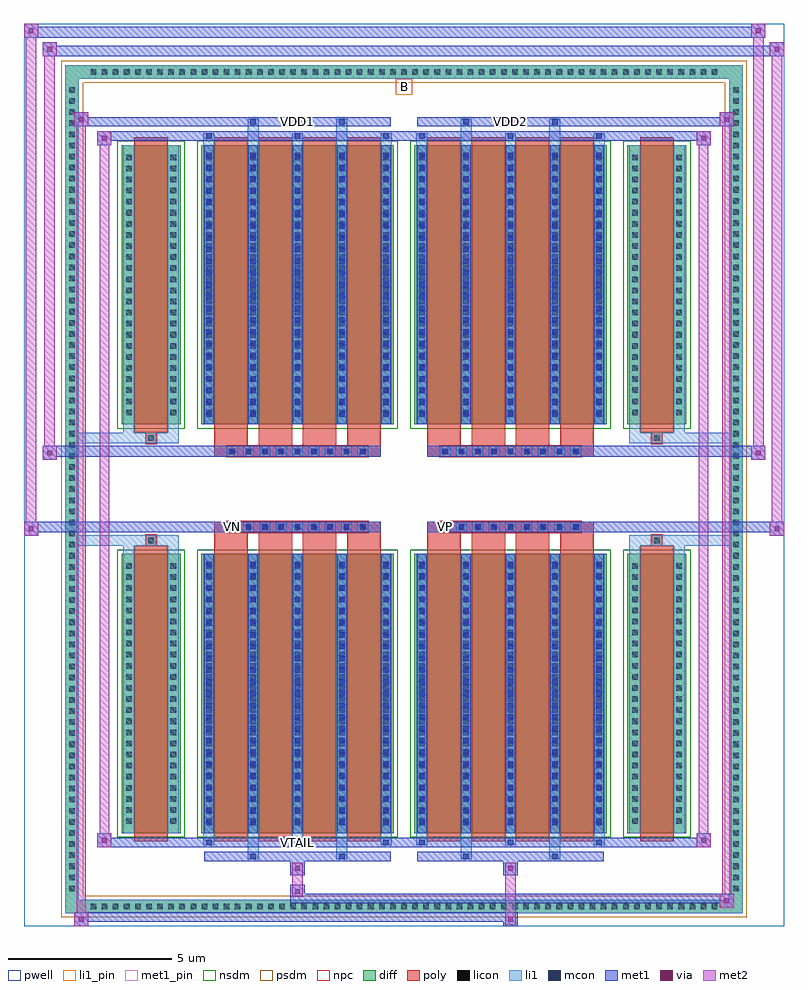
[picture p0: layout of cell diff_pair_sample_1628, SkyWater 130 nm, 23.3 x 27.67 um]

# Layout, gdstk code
import gdstk
lib = gdstk.Library(unit=1e-6, precision=5e-09)
def R(c, l, rs):  # rectangles x0, y0, x1, y1
    for r in rs: c.add(gdstk.rectangle(r[:2], r[2:], *l))
def A(c, l, x, y, w, h, nx, ny, dx, dy):  # array of equal rectangles
    R(c, l, [(x+i*dx, y+j*dy, x+i*dx+w, y+j*dy+h) for i in range(nx) for j in range(ny)])
def P(c, l, *ps):  # polygons
    for p in ps: c.add(gdstk.Polygon(p, *l))
pwell = (64, 44)
diff = (65, 20)
poly = (66, 20)
licon = (66, 44)
li1_pin = (67, 16)
li1 = (67, 20)
mcon = (67, 44)
met1_pin = (68, 16)
met1 = (68, 20)
via = (68, 44)
met2 = (69, 20)
nsdm = (93, 44)
psdm = (94, 20)
npc = (95, 20)

diff_pair_sample_1628 = lib.new_cell('diff_pair_sample_1628')
R(diff_pair_sample_1628, pwell, [(-11.65,-13.4,11.65,14.27), (-8.97,-11.59,-0.01,-0.795), (0.01,-11.59,8.97,-0.795), (-8.97,0.795,-0.01,11.59), (0.01,0.795,8.97,11.59)])
A(diff_pair_sample_1628, diff, -9.725, -13, 0.41, 0.41, 57, 2, 0.34, 25.59)
A(diff_pair_sample_1628, diff, -10.38, -12.445, 0.41, 0.41, 1, 73, 0, 0.34)
A(diff_pair_sample_1628, diff, 9.97, -12.445, 0.41, 0.41, 1, 73, 0, 0.34)
R(diff_pair_sample_1628, diff, [(-9.725,-13,9.725,-12.59), (-10.38,-12.445,-9.97,12.445), (9.97,-12.445,10.38,12.445), (-8.66,-10.545,-6.85,-1.985), (-6.21,-10.545,-0.32,-1.985), (0.32,-10.545,6.21,-1.985), (6.85,-10.545,8.66,-1.985), (-8.66,1.985,-6.85,10.545), (-6.21,1.985,-0.32,10.545), (0.32,1.985,6.21,10.545), (6.85,1.985,8.66,10.545), (-9.725,12.59,9.725,13)])
P(diff_pair_sample_1628, diff, [(10.38,13),(-10.38,13),(-10.38,-12.59),(-9.97,-12.59),(-9.97,12.59),(9.97,12.59),(9.97,-12.59),(-9.97,-12.59),(-10.38,-12.59),(-10.38,-13),(10.38,-13)])
A(diff_pair_sample_1628, poly, -5.82, -10.795, 1.03, 9.06, 4, 2, 1.36, 12.53)
A(diff_pair_sample_1628, poly, 0.71, -10.795, 1.03, 9.06, 4, 2, 1.36, 12.53)
A(diff_pair_sample_1628, poly, -5.82, -1.735, 1.03, 0.41, 4, 2, 1.36, 3.06)
A(diff_pair_sample_1628, poly, 0.71, -1.735, 1.03, 0.41, 4, 2, 1.36, 3.06)
A(diff_pair_sample_1628, poly, -5.43, -1.325, 0.33, 0.33, 9, 2, 0.5, 2.32)
A(diff_pair_sample_1628, poly, 1.1, -1.325, 0.33, 0.33, 9, 2, 0.5, 2.32)
R(diff_pair_sample_1628, poly, [(-8.27,-10.795,-7.24,-1.735), (7.24,-10.795,8.27,-1.735), (-7.92,-1.735,-7.59,-1.405), (-7.92,-1.735,-7.59,-1.405), (7.59,-1.735,7.92,-1.405), (7.59,-1.735,7.92,-1.405), (-5.82,-1.325,-0.71,-0.995), (0.71,-1.325,5.82,-0.995), (-5.82,0.995,-0.71,1.325), (0.71,0.995,5.82,1.325), (-7.92,1.405,-7.59,1.735), (-7.92,1.405,-7.59,1.735), (7.59,1.405,7.92,1.735), (7.59,1.405,7.92,1.735), (-8.27,1.735,-7.24,10.795), (7.24,1.735,8.27,10.795)])
A(diff_pair_sample_1628, licon, -9.605, -12.88, 0.17, 0.17, 57, 2, 0.34, 25.59)
A(diff_pair_sample_1628, licon, -10.26, -12.325, 0.17, 0.17, 1, 73, 0, 0.34)
A(diff_pair_sample_1628, licon, 10.09, -12.325, 0.17, 0.17, 1, 73, 0, 0.34)
A(diff_pair_sample_1628, licon, -8.52, -10.26, 0.17, 0.17, 1, 24, 0, 0.34)
A(diff_pair_sample_1628, licon, -7.16, -10.26, 0.17, 0.17, 1, 24, 0, 0.34)
A(diff_pair_sample_1628, licon, -6.07, -10.26, 0.17, 0.17, 5, 24, 1.36, 0.34)
A(diff_pair_sample_1628, licon, 0.46, -10.26, 0.17, 0.17, 5, 24, 1.36, 0.34)
A(diff_pair_sample_1628, licon, 6.99, -10.26, 0.17, 0.17, 1, 24, 0, 0.34)
A(diff_pair_sample_1628, licon, 8.35, -10.26, 0.17, 0.17, 1, 24, 0, 0.34)
A(diff_pair_sample_1628, licon, -5.35, -1.245, 0.17, 0.17, 9, 2, 0.5, 2.32)
A(diff_pair_sample_1628, licon, 1.18, -1.245, 0.17, 0.17, 9, 2, 0.5, 2.32)
A(diff_pair_sample_1628, licon, -8.52, 2.27, 0.17, 0.17, 1, 24, 0, 0.34)
A(diff_pair_sample_1628, licon, -7.16, 2.27, 0.17, 0.17, 1, 24, 0, 0.34)
A(diff_pair_sample_1628, licon, -6.07, 2.27, 0.17, 0.17, 5, 24, 1.36, 0.34)
A(diff_pair_sample_1628, licon, 0.46, 2.27, 0.17, 0.17, 5, 24, 1.36, 0.34)
A(diff_pair_sample_1628, licon, 6.99, 2.27, 0.17, 0.17, 1, 24, 0, 0.34)
A(diff_pair_sample_1628, licon, 8.35, 2.27, 0.17, 0.17, 1, 24, 0, 0.34)
R(diff_pair_sample_1628, licon, [(-7.84,-1.655,-7.67,-1.485), (7.67,-1.655,7.84,-1.485), (-7.84,1.485,-7.67,1.655), (7.67,1.485,7.84,1.655)])
R(diff_pair_sample_1628, li1_pin, [(-0.25,12.09,0.25,12.59)])
A(diff_pair_sample_1628, li1, -9.685, -12.96, 0.33, 0.33, 57, 2, 0.34, 25.59)
A(diff_pair_sample_1628, li1, -10.34, -12.405, 0.33, 0.33, 1, 73, 0, 0.34)
A(diff_pair_sample_1628, li1, 10.01, -12.405, 0.33, 0.33, 1, 73, 0, 0.34)
A(diff_pair_sample_1628, li1, -6.15, -10.92, 0.33, 0.375, 3, 2, 2.72, 21.465)
A(diff_pair_sample_1628, li1, -6.07, -10.92, 0.17, 0.17, 3, 2, 2.72, 21.67)
A(diff_pair_sample_1628, li1, 0.38, -10.92, 0.33, 0.375, 3, 2, 2.72, 21.465)
A(diff_pair_sample_1628, li1, 0.46, -10.92, 0.17, 0.17, 3, 2, 2.72, 21.67)
A(diff_pair_sample_1628, li1, -6.15, -10.545, 0.33, 8.56, 5, 2, 1.36, 12.53)
A(diff_pair_sample_1628, li1, 0.38, -10.545, 0.33, 8.56, 5, 2, 1.36, 12.53)
A(diff_pair_sample_1628, li1, -8.6, -10.34, 0.33, 0.33, 1, 24, 0, 0.34)
A(diff_pair_sample_1628, li1, -7.24, -10.34, 0.33, 0.33, 1, 24, 0, 0.34)
A(diff_pair_sample_1628, li1, -6.15, -10.34, 0.33, 0.33, 5, 24, 1.36, 0.34)
A(diff_pair_sample_1628, li1, 0.38, -10.34, 0.33, 0.33, 5, 24, 1.36, 0.34)
A(diff_pair_sample_1628, li1, 6.91, -10.34, 0.33, 0.33, 1, 24, 0, 0.34)
A(diff_pair_sample_1628, li1, 8.27, -10.34, 0.33, 0.33, 1, 24, 0, 0.34)
A(diff_pair_sample_1628, li1, -6.07, -10.31, 0.17, 0.17, 5, 23, 1.36, 0.36)
A(diff_pair_sample_1628, li1, -6.07, -10.31, 0.17, 8.09, 5, 2, 1.36, 12.53)
A(diff_pair_sample_1628, li1, 0.46, -10.31, 0.17, 0.17, 5, 23, 1.36, 0.36)
A(diff_pair_sample_1628, li1, 0.46, -10.31, 0.17, 8.09, 5, 2, 1.36, 12.53)
A(diff_pair_sample_1628, li1, -5.43, -1.325, 0.33, 0.33, 9, 2, 0.5, 2.32)
A(diff_pair_sample_1628, li1, 1.1, -1.325, 0.33, 0.33, 9, 2, 0.5, 2.32)
A(diff_pair_sample_1628, li1, -8.6, 2.19, 0.33, 0.33, 1, 24, 0, 0.34)
A(diff_pair_sample_1628, li1, -7.24, 2.19, 0.33, 0.33, 1, 24, 0, 0.34)
A(diff_pair_sample_1628, li1, -6.15, 2.19, 0.33, 0.33, 5, 24, 1.36, 0.34)
A(diff_pair_sample_1628, li1, 0.38, 2.19, 0.33, 0.33, 5, 24, 1.36, 0.34)
A(diff_pair_sample_1628, li1, 6.91, 2.19, 0.33, 0.33, 1, 24, 0, 0.34)
A(diff_pair_sample_1628, li1, 8.27, 2.19, 0.33, 0.33, 1, 24, 0, 0.34)
A(diff_pair_sample_1628, li1, -6.07, 2.22, 0.17, 0.17, 5, 23, 1.36, 0.36)
A(diff_pair_sample_1628, li1, 0.46, 2.22, 0.17, 0.17, 5, 23, 1.36, 0.36)
R(diff_pair_sample_1628, li1, [(-10.38,-13,-9.97,-12.59), (-10.38,-13,-9.97,-12.59), (-9.97,-13,9.97,-12.59), (9.97,-13,10.38,-12.59), (9.97,-13,10.38,-12.59), (-10.38,-12.59,-9.97,12.59), (9.97,-12.59,10.38,12.59), (-4.79,-11.35,-4.46,-10.545), (-4.71,-11.35,-4.54,-11.18), (-2.07,-11.35,-1.74,-10.545), (-1.99,-11.35,-1.82,-11.18), (1.74,-11.35,2.07,-10.545), (1.82,-11.35,1.99,-11.18), (4.46,-11.35,4.79,-10.545), (4.54,-11.35,4.71,-11.18), (-8.6,-10.545,-8.27,-1.985), (-7.24,-10.545,-6.91,-1.985), (6.91,-10.545,7.24,-1.985), (8.27,-10.545,8.6,-1.985), (-8.6,-1.985,-8.27,-1.405), (-7.24,-1.985,-6.91,-1.405), (6.91,-1.985,7.24,-1.405), (8.27,-1.985,8.6,-1.405), (-10.38,-1.735,-7.92,-1.405), (-8.6,-1.735,-7.92,-1.405), (-7.92,-1.735,-7.59,-1.405), (-7.59,-1.735,-6.91,-1.405), (6.91,-1.735,7.59,-1.405), (7.59,-1.735,7.92,-1.405), (7.59,-1.735,10.38,-1.405), (7.92,-1.735,8.6,-1.405), (-10.38,1.405,-7.92,1.735), (-8.6,1.405,-7.92,1.735), (-8.6,1.405,-8.27,1.985), (-7.92,1.405,-7.59,1.735), (-7.59,1.405,-6.91,1.735), (-7.24,1.405,-6.91,1.985), (6.91,1.405,7.59,1.735), (6.91,1.405,7.24,1.985), (7.59,1.405,7.92,1.735), (7.59,1.405,10.38,1.735), (7.92,1.405,8.6,1.735), (8.27,1.405,8.6,1.985), (-8.6,1.985,-8.27,10.545), (-7.24,1.985,-6.91,10.545), (6.91,1.985,7.24,10.545), (8.27,1.985,8.6,10.545), (-4.79,10.545,-4.46,11.35), (-2.07,10.545,-1.74,11.35), (1.74,10.545,2.07,11.35), (4.46,10.545,4.79,11.35), (-4.71,11.18,-4.54,11.35), (-1.99,11.18,-1.82,11.35), (1.82,11.18,1.99,11.35), (4.54,11.18,4.71,11.35), (-10.38,12.59,-9.97,13), (-10.38,12.59,-9.97,13), (-9.97,12.59,9.97,13), (9.97,12.59,10.38,13), (9.97,12.59,10.38,13)])
A(diff_pair_sample_1628, mcon, -6.07, -10.92, 0.17, 0.17, 3, 2, 2.72, 21.67)
A(diff_pair_sample_1628, mcon, 0.46, -10.92, 0.17, 0.17, 3, 2, 2.72, 21.67)
A(diff_pair_sample_1628, mcon, -6.07, -10.31, 0.17, 0.17, 5, 23, 1.36, 0.36)
A(diff_pair_sample_1628, mcon, 0.46, -10.31, 0.17, 0.17, 5, 23, 1.36, 0.36)
A(diff_pair_sample_1628, mcon, -5.35, -1.245, 0.17, 0.17, 9, 2, 0.5, 2.32)
A(diff_pair_sample_1628, mcon, 1.18, -1.245, 0.17, 0.17, 9, 2, 0.5, 2.32)
A(diff_pair_sample_1628, mcon, -6.07, 2.22, 0.17, 0.17, 5, 23, 1.36, 0.36)
A(diff_pair_sample_1628, mcon, 0.46, 2.22, 0.17, 0.17, 5, 23, 1.36, 0.36)
R(diff_pair_sample_1628, mcon, [(-4.71,-11.35,-4.54,-11.18), (-1.99,-11.35,-1.82,-11.18), (1.82,-11.35,1.99,-11.18), (4.54,-11.35,4.71,-11.18), (-4.71,11.18,-4.54,11.35), (-1.99,11.18,-1.82,11.35), (1.82,11.18,1.99,11.35), (4.54,11.18,4.71,11.35)])
R(diff_pair_sample_1628, met1_pin, [(-3.4,-10.96,-3.13,-10.69), (-5.4,-1.285,-5.13,-1.015), (1.13,-1.285,1.4,-1.015), (-3.4,11.14,-3.13,11.41), (3.13,11.14,3.4,11.41)])
A(diff_pair_sample_1628, met1, -6.13, -10.98, 0.29, 0.29, 3, 2, 2.72, 21.67)
A(diff_pair_sample_1628, met1, 0.4, -10.98, 0.29, 0.29, 3, 2, 2.72, 21.67)
A(diff_pair_sample_1628, met1, -6.13, -10.545, 0.29, 8.56, 5, 2, 1.36, 12.53)
A(diff_pair_sample_1628, met1, 0.4, -10.545, 0.29, 8.56, 5, 2, 1.36, 12.53)
A(diff_pair_sample_1628, met1, -6.13, -10.37, 0.29, 0.29, 5, 23, 1.36, 0.36)
A(diff_pair_sample_1628, met1, 0.4, -10.37, 0.29, 0.29, 5, 23, 1.36, 0.36)
A(diff_pair_sample_1628, met1, -5.41, -1.305, 0.29, 0.29, 9, 2, 0.5, 2.32)
A(diff_pair_sample_1628, met1, 1.12, -1.305, 0.29, 0.29, 9, 2, 0.5, 2.32)
A(diff_pair_sample_1628, met1, -6.13, 2.16, 0.29, 0.29, 5, 23, 1.36, 0.36)
A(diff_pair_sample_1628, met1, 0.4, 2.16, 0.29, 0.29, 5, 23, 1.36, 0.36)
R(diff_pair_sample_1628, met1, [(-10.11,-13.4,-9.68,-12.97), (3.05,-13.4,3.48,-12.97), (-10.11,-13.26,3.48,-12.97), (9.68,-12.83,10.11,-12.4), (-3.48,-12.69,10.11,-12.4), (-3.48,-12.55,-3.05,-12.12), (-3.48,-11.84,-3.05,-11.41), (3.05,-11.84,3.48,-11.41), (-6.13,-11.41,-0.4,-11.12), (-4.77,-11.41,-4.48,-11.12), (-2.05,-11.41,-1.76,-11.12), (0.4,-11.41,6.13,-11.12), (1.76,-11.41,2.05,-11.12), (4.48,-11.41,4.77,-11.12), (-9.4,-10.98,-8.97,-10.55), (-9.4,-10.98,-6.13,-10.69), (-6.13,-10.98,-0.4,-10.69), (-0.4,-10.98,0.4,-10.69), (0.4,-10.98,6.13,-10.69), (6.13,-10.98,9.4,-10.69), (8.97,-10.98,9.4,-10.55), (-11.65,-1.425,-11.22,-0.995), (11.22,-1.425,11.65,-0.995), (-11.65,-1.325,-0.71,-0.995), (-5.82,-1.325,-0.71,-0.995), (0.71,-1.325,5.82,-0.995), (0.71,-1.325,11.65,-0.995), (-11.08,0.895,-10.65,1.325), (10.65,0.895,11.08,1.325), (-11.08,0.995,-5.82,1.325), (-5.82,0.995,-0.71,1.325), (0.71,0.995,5.82,1.325), (5.82,0.995,11.08,1.325), (-9.4,10.55,-8.97,10.98), (8.97,10.55,9.4,10.98), (-9.4,10.69,-6.13,10.98), (-6.13,10.69,-0.4,10.98), (-0.4,10.69,0.4,10.98), (0.4,10.69,6.13,10.98), (6.13,10.69,9.4,10.98), (-10.11,11.12,-9.68,11.55), (-10.11,11.12,-6.13,11.41), (-6.13,11.12,-0.4,11.41), (-4.77,11.12,-4.48,11.41), (-2.05,11.12,-1.76,11.41), (0.4,11.12,6.13,11.41), (1.76,11.12,2.05,11.41), (4.48,11.12,4.77,11.41), (6.13,11.12,10.11,11.41), (9.68,11.12,10.11,11.55), (-11.08,13.27,-10.65,13.7), (-11.08,13.27,-8.97,13.6), (-8.97,13.27,8.97,13.6), (8.97,13.27,11.65,13.6), (11.22,13.27,11.65,13.7), (-11.65,13.84,-11.22,14.27), (-11.65,13.84,-8.97,14.17), (-8.97,13.84,8.97,14.17), (8.97,13.84,11.08,14.17), (10.65,13.84,11.08,14.27)])
R(diff_pair_sample_1628, via, [(-9.97,-13.26,-9.82,-13.11), (3.19,-13.26,3.34,-13.11), (9.82,-12.69,9.97,-12.54), (-3.34,-12.41,-3.19,-12.26), (-3.34,-11.7,-3.19,-11.55), (3.19,-11.7,3.34,-11.55), (-9.26,-10.84,-9.11,-10.69), (9.11,-10.84,9.26,-10.69), (-11.51,-1.285,-11.36,-1.135), (11.36,-1.285,11.51,-1.135), (-10.94,1.035,-10.79,1.185), (10.79,1.035,10.94,1.185), (-9.26,10.69,-9.11,10.84), (9.11,10.69,9.26,10.84), (-9.97,11.26,-9.82,11.41), (9.82,11.26,9.97,11.41), (-10.94,13.41,-10.79,13.56), (11.36,13.41,11.51,13.56), (-11.51,13.98,-11.36,14.13), (10.79,13.98,10.94,14.13)])
R(diff_pair_sample_1628, met2, [(-10.11,-13.4,-9.68,-12.97), (-10.04,-13.4,-9.75,11.55), (-9.75,-13.4,-9.68,-12.97), (-10.06,-13.35,-9.73,-13.02), (3.1,-13.35,3.43,-13.02), (3.1,-13.02,3.43,-11.79), (9.68,-12.83,10.11,-12.4), (9.75,-12.83,10.04,11.55), (10.04,-12.83,10.11,-12.4), (9.73,-12.78,10.06,-12.45), (-3.43,-12.5,-3.1,-12.17), (-3.43,-12.17,-3.1,-11.79), (-3.43,-11.79,-3.1,-11.46), (3.1,-11.79,3.43,-11.46), (-9.4,-10.98,-8.97,-10.55), (-9.33,-10.98,-9.04,10.98), (-9.04,-10.98,-8.97,-10.55), (8.97,-10.98,9.4,-10.55), (9.04,-10.98,9.33,10.98), (9.33,-10.98,9.4,-10.55), (-9.35,-10.93,-9.02,-10.6), (9.02,-10.93,9.35,-10.6), (-11.65,-1.425,-11.22,-0.995), (-11.6,-1.425,-11.27,14.27), (-11.27,-1.425,-11.22,-0.995), (11.22,-1.425,11.65,-0.995), (11.27,-1.425,11.6,13.7), (11.6,-1.425,11.65,-0.995), (-11.6,-1.375,-11.27,-1.045), (11.27,-1.375,11.6,-1.045), (-11.08,0.895,-10.65,1.325), (-11.03,0.895,-10.7,13.7), (-10.7,0.895,-10.65,1.325), (10.65,0.895,11.08,1.325), (10.7,0.895,11.03,14.27), (11.03,0.895,11.08,1.325), (-11.03,0.945,-10.7,1.275), (10.7,0.945,11.03,1.275), (-9.4,10.55,-8.97,10.98), (-9.04,10.55,-8.97,10.98), (8.97,10.55,9.4,10.98), (9.33,10.55,9.4,10.98), (-9.35,10.6,-9.02,10.93), (9.02,10.6,9.35,10.93), (-10.11,11.12,-9.68,11.55), (-9.75,11.12,-9.68,11.55), (9.68,11.12,10.11,11.55), (10.04,11.12,10.11,11.55), (-10.06,11.17,-9.73,11.5), (9.73,11.17,10.06,11.5), (-11.08,13.27,-10.65,13.7), (-10.7,13.27,-10.65,13.7), (11.22,13.27,11.65,13.7), (11.6,13.27,11.65,13.7), (-11.03,13.32,-10.7,13.65), (11.27,13.32,11.6,13.65), (-11.65,13.84,-11.22,14.27), (-11.27,13.84,-11.22,14.27), (10.65,13.84,11.08,14.27), (11.03,13.84,11.08,14.27), (-11.6,13.89,-11.27,14.22), (10.7,13.89,11.03,14.22)])
R(diff_pair_sample_1628, nsdm, [(-8.79,-10.675,-6.72,-1.855), (-6.34,-10.675,-0.19,-1.855), (0.19,-10.675,6.34,-1.855), (6.72,-10.675,8.79,-1.855), (-8.79,1.855,-6.72,10.675), (-6.34,1.855,-0.19,10.675), (0.19,1.855,6.34,10.675), (6.72,1.855,8.79,10.675)])
P(diff_pair_sample_1628, psdm, [(10.51,13.13),(-10.51,13.13),(-10.51,-12.46),(-9.84,-12.46),(-9.84,12.46),(9.84,12.46),(9.84,-12.46),(-9.84,-12.46),(-10.51,-12.46),(-10.51,-13.13),(10.51,-13.13)])
A(diff_pair_sample_1628, npc, -5.45, -1.345, 0.37, 0.37, 9, 2, 0.5, 2.32)
A(diff_pair_sample_1628, npc, 1.08, -1.345, 0.37, 0.37, 9, 2, 0.5, 2.32)
R(diff_pair_sample_1628, npc, [(-7.94,-1.755,-7.57,-1.385), (7.57,-1.755,7.94,-1.385), (-5.45,-1.345,-4.58,-0.975), (-5.45,-1.345,-4.58,-0.975), (-4.95,-1.345,-4.08,-0.975), (-4.95,-1.345,-4.08,-0.975), (-4.45,-1.345,-3.58,-0.975), (-4.45,-1.345,-3.58,-0.975), (-3.95,-1.345,-3.08,-0.975), (-3.95,-1.345,-3.08,-0.975), (-3.45,-1.345,-2.58,-0.975), (-3.45,-1.345,-2.58,-0.975), (-2.95,-1.345,-2.08,-0.975), (-2.95,-1.345,-2.08,-0.975), (-2.45,-1.345,-1.58,-0.975), (-2.45,-1.345,-1.58,-0.975), (-1.95,-1.345,-1.08,-0.975), (-1.95,-1.345,-1.08,-0.975), (1.08,-1.345,1.95,-0.975), (1.08,-1.345,1.95,-0.975), (1.58,-1.345,2.45,-0.975), (1.58,-1.345,2.45,-0.975), (2.08,-1.345,2.95,-0.975), (2.08,-1.345,2.95,-0.975), (2.58,-1.345,3.45,-0.975), (2.58,-1.345,3.45,-0.975), (3.08,-1.345,3.95,-0.975), (3.08,-1.345,3.95,-0.975), (3.58,-1.345,4.45,-0.975), (3.58,-1.345,4.45,-0.975), (4.08,-1.345,4.95,-0.975), (4.08,-1.345,4.95,-0.975), (4.58,-1.345,5.45,-0.975), (4.58,-1.345,5.45,-0.975), (-5.45,0.975,-4.58,1.345), (-5.45,0.975,-4.58,1.345), (-4.95,0.975,-4.08,1.345), (-4.95,0.975,-4.08,1.345), (-4.45,0.975,-3.58,1.345), (-4.45,0.975,-3.58,1.345), (-3.95,0.975,-3.08,1.345), (-3.95,0.975,-3.08,1.345), (-3.45,0.975,-2.58,1.345), (-3.45,0.975,-2.58,1.345), (-2.95,0.975,-2.08,1.345), (-2.95,0.975,-2.08,1.345), (-2.45,0.975,-1.58,1.345), (-2.45,0.975,-1.58,1.345), (-1.95,0.975,-1.08,1.345), (-1.95,0.975,-1.08,1.345), (1.08,0.975,1.95,1.345), (1.08,0.975,1.95,1.345), (1.58,0.975,2.45,1.345), (1.58,0.975,2.45,1.345), (2.08,0.975,2.95,1.345), (2.08,0.975,2.95,1.345), (2.58,0.975,3.45,1.345), (2.58,0.975,3.45,1.345), (3.08,0.975,3.95,1.345), (3.08,0.975,3.95,1.345), (3.58,0.975,4.45,1.345), (3.58,0.975,4.45,1.345), (4.08,0.975,4.95,1.345), (4.08,0.975,4.95,1.345), (4.58,0.975,5.45,1.345), (4.58,0.975,5.45,1.345), (-7.94,1.385,-7.57,1.755), (7.57,1.385,7.94,1.755)])
diff_pair_sample_1628.add(gdstk.Label('VTAIL', (-3.265,-10.825), layer=68, texttype=5))
diff_pair_sample_1628.add(gdstk.Label('VN', (-5.265,-1.15), layer=68, texttype=5))
diff_pair_sample_1628.add(gdstk.Label('VP', (1.265,-1.15), layer=68, texttype=5))
diff_pair_sample_1628.add(gdstk.Label('B', (0,12.34), layer=67, texttype=5))
diff_pair_sample_1628.add(gdstk.Label('VDD2', (3.265,11.275), layer=68, texttype=5))
diff_pair_sample_1628.add(gdstk.Label('VDD1', (-3.265,11.275), layer=68, texttype=5))

lib.write_gds('diff_pair_sample_1628.gds')
